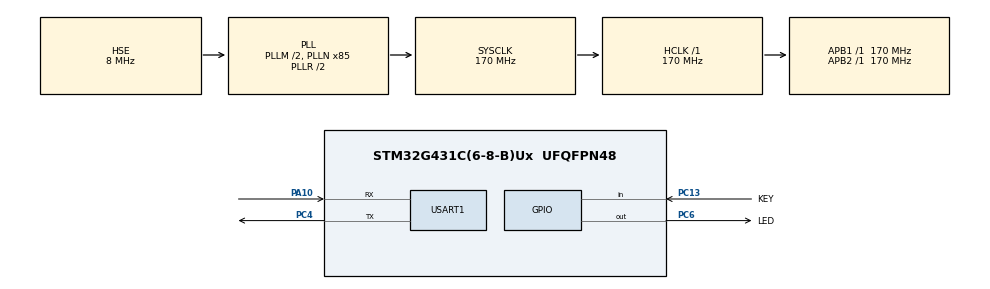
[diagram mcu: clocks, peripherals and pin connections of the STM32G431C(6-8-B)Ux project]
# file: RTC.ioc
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Mcu.Family=STM32G4
Mcu.Name=STM32G431C(6-8-B)Ux
Mcu.Package=UFQFPN48
NVIC.PriorityGroup=NVIC_PRIORITYGROUP_4
PA10.Mode=Asynchronous
PA10.Signal=USART1_RX
PA13.Mode=Trace_Asynchronous_SW
PA13.Signal=SYS_JTMS-SWDIO
PA14.Mode=Trace_Asynchronous_SW
PA14.Signal=SYS_JTCK-SWCLK
PB3.Mode=Trace_Asynchronous_SW
PB3.Signal=SYS_JTDO-SWO
PC13.GPIO_Label=KEY
PC13.GPIO_PuPd=GPIO_PULLDOWN
PC13.Signal=GPIO_Input
PC14-OSC32_IN.Mode=LSE-External-Oscillator
PC14-OSC32_IN.Signal=RCC_OSC32_IN
PC15-OSC32_OUT.Mode=LSE-External-Oscillator
PC15-OSC32_OUT.Signal=RCC_OSC32_OUT
PC4.Mode=Asynchronous
PC4.Signal=USART1_TX
PC6.GPIO_Label=LED
PC6.GPIO_ModeDefaultOutputPP=GPIO_MODE_OUTPUT_PP
PC6.GPIO_Speed=GPIO_SPEED_FREQ_LOW
PC6.PinState=GPIO_PIN_RESET
PC6.Signal=GPIO_Output
PF0-OSC_IN.Mode=HSE-External-Oscillator
PF0-OSC_IN.Signal=RCC_OSC_IN
PF1-OSC_OUT.Mode=HSE-External-Oscillator
PF1-OSC_OUT.Signal=RCC_OSC_OUT
ProjectManager.HeapSize=0x200
ProjectManager.StackSize=0x400
ProjectManager.TargetToolchain=STM32CubeIDE
RCC.ADC12Freq_Value=170000000
RCC.AHBFreq_Value=170000000
RCC.APB1Freq_Value=170000000
RCC.APB1TimFreq_Value=170000000
RCC.APB2Freq_Value=170000000
RCC.APB2TimFreq_Value=170000000
RCC.CortexFreq_Value=170000000
RCC.EXTERNAL_CLOCK_VALUE=12288000
RCC.HCLKFreq_Value=170000000
RCC.HSE_VALUE=8000000
RCC.HSI48_VALUE=48000000
RCC.HSI_VALUE=16000000
RCC.PLLM=RCC_PLLM_DIV2
RCC.PLLN=85
RCC.PLLSourceVirtual=RCC_PLLSOURCE_HSE
RCC.RTCClockSelection=RCC_RTCCLKSOURCE_LSE
RCC.SYSCLKFreq_VALUE=170000000
RCC.SYSCLKSource=RCC_SYSCLKSOURCE_PLLCLK
RCC.USBFreq_Value=170000000
RCC.VCOOutputFreq_Value=340000000
USART1.VirtualMode-Asynchronous=VM_ASYNC
VP_RTC_VS_RTC_Activate.Mode=RTC_Enabled
VP_SYS_VS_DBSignals.Mode=DisableDeadBatterySignals
board=custom

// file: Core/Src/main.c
/* USER CODE BEGIN Header */
/**
  ******************************************************************************
  * @file           : main.c
  * @brief          : Main program body
  ******************************************************************************
  * @attention
  *
  * Copyright (c) 2025 STMicroelectronics.
  * All rights reserved.
  *
  * This software is licensed under terms that can be found in the LICENSE file
  * in the root directory of this software component.
  * If no LICENSE file comes with this software, it is provided AS-IS.
  *
  ******************************************************************************
  */
/* USER CODE END Header */
#include "main.h"

/* USER CODE BEGIN Includes */
#include "console.h"
/* USER CODE END Includes */

RTC_HandleTypeDef hrtc;

UART_HandleTypeDef huart1;

void SystemClock_Config(void);
static void MX_GPIO_Init(void);
static void MX_RTC_Init(void);
static void MX_USART1_UART_Init(void);

int main(void)
{

  /* MCU Configuration--------------------------------------------------------*/

  /* Reset of all peripherals, Initializes the Flash interface and the Systick. */
  HAL_Init();

  /* Configure the system clock */
  SystemClock_Config();

  /* Initialize all configured peripherals */
  MX_GPIO_Init();
  MX_RTC_Init();
  MX_USART1_UART_Init();
  /* USER CODE BEGIN 2 */

  RTC_TimeTypeDef Time;
  RTC_DateTypeDef Date;

  /* USER CODE END 2 */

  /* Infinite loop */
  /* USER CODE BEGIN WHILE */
  while (1)
  {
	  if (HAL_RTC_GetTime(&hrtc, &Time, RTC_FORMAT_BIN) != HAL_OK) {
		  printf("RTC Get Time error\r\n");
	  }

	  if (HAL_RTC_GetDate(&hrtc, &Date, RTC_FORMAT_BIN) != HAL_OK) {
		  printf("RTC Get Date error\r\n");
	  }

	  printf("Date: %d.%d.%d Time: %d:%d:%d \r\n", Date.Date, Date.Month, Date.Year,  Time.Hours, Time.Minutes, Time.Seconds);
	  HAL_Delay(1000);

	  if (HAL_GPIO_ReadPin(KEY_GPIO_Port, KEY_Pin) == GPIO_PIN_SET) {
		  // Set time
		  Time.Hours = 15;
		  Time.Minutes = 41;
		  Time.Seconds = 13;

		  // Set date
		  Date.Date = 20;
		  Date.Month = 11;
		  Date.Year = 25;
		  Date.WeekDay = RTC_WEEKDAY_MONDAY;

		  if (HAL_RTC_SetTime(&hrtc, &Time, RTC_FORMAT_BIN) != HAL_OK) {
			  printf("RTC Set Time error\r\n");
		  }

		  if (HAL_RTC_SetDate(&hrtc, &Date, RTC_FORMAT_BIN) != HAL_OK) {
			  printf("RTC Set Date error\r\n");
		  }

	  }

    /* USER CODE END WHILE */

  }
}

void SystemClock_Config(void)
{
  RCC_OscInitTypeDef RCC_OscInitStruct = {0};
  RCC_ClkInitTypeDef RCC_ClkInitStruct = {0};

  /** Configure the main internal regulator output voltage
  */
  HAL_PWREx_ControlVoltageScaling(PWR_REGULATOR_VOLTAGE_SCALE1_BOOST);

  /** Configure LSE Drive Capability
  */
  HAL_PWR_EnableBkUpAccess();
  __HAL_RCC_LSEDRIVE_CONFIG(RCC_LSEDRIVE_LOW);

  /** Initializes the RCC Oscillators according to the specified parameters
  * in the RCC_OscInitTypeDef structure.
  */
  RCC_OscInitStruct.OscillatorType = RCC_OSCILLATORTYPE_HSE|RCC_OSCILLATORTYPE_LSE;
  RCC_OscInitStruct.HSEState = RCC_HSE_ON;
  RCC_OscInitStruct.LSEState = RCC_LSE_ON;
  RCC_OscInitStruct.PLL.PLLState = RCC_PLL_ON;
  RCC_OscInitStruct.PLL.PLLSource = RCC_PLLSOURCE_HSE;
  RCC_OscInitStruct.PLL.PLLM = RCC_PLLM_DIV2;
  RCC_OscInitStruct.PLL.PLLN = 85;
  RCC_OscInitStruct.PLL.PLLP = RCC_PLLP_DIV2;
  RCC_OscInitStruct.PLL.PLLQ = RCC_PLLQ_DIV2;
  RCC_OscInitStruct.PLL.PLLR = RCC_PLLR_DIV2;
  if (HAL_RCC_OscConfig(&RCC_OscInitStruct) != HAL_OK)
  {
    Error_Handler();
  }

  /** Initializes the CPU, AHB and APB buses clocks
  */
  RCC_ClkInitStruct.ClockType = RCC_CLOCKTYPE_HCLK|RCC_CLOCKTYPE_SYSCLK
                              |RCC_CLOCKTYPE_PCLK1|RCC_CLOCKTYPE_PCLK2;
  RCC_ClkInitStruct.SYSCLKSource = RCC_SYSCLKSOURCE_PLLCLK;
  RCC_ClkInitStruct.AHBCLKDivider = RCC_SYSCLK_DIV1;
  RCC_ClkInitStruct.APB1CLKDivider = RCC_HCLK_DIV1;
  RCC_ClkInitStruct.APB2CLKDivider = RCC_HCLK_DIV1;

  if (HAL_RCC_ClockConfig(&RCC_ClkInitStruct, FLASH_LATENCY_4) != HAL_OK)
  {
    Error_Handler();
  }
}

static void MX_RTC_Init(void)
{

  /** Initialize RTC Only
  */
  hrtc.Instance = RTC;
  hrtc.Init.HourFormat = RTC_HOURFORMAT_24;
  hrtc.Init.AsynchPrediv = 127;
  hrtc.Init.SynchPrediv = 255;
  hrtc.Init.OutPut = RTC_OUTPUT_DISABLE;
  hrtc.Init.OutPutRemap = RTC_OUTPUT_REMAP_NONE;
  hrtc.Init.OutPutPolarity = RTC_OUTPUT_POLARITY_HIGH;
  hrtc.Init.OutPutType = RTC_OUTPUT_TYPE_OPENDRAIN;
  hrtc.Init.OutPutPullUp = RTC_OUTPUT_PULLUP_NONE;
  if (HAL_RTC_Init(&hrtc) != HAL_OK)
  {
    Error_Handler();
  }

}

static void MX_USART1_UART_Init(void)
{

  huart1.Instance = USART1;
  huart1.Init.BaudRate = 115200;
  huart1.Init.WordLength = UART_WORDLENGTH_8B;
  huart1.Init.StopBits = UART_STOPBITS_1;
  huart1.Init.Parity = UART_PARITY_NONE;
  huart1.Init.Mode = UART_MODE_TX_RX;
  huart1.Init.HwFlowCtl = UART_HWCONTROL_NONE;
  huart1.Init.OverSampling = UART_OVERSAMPLING_16;
  huart1.Init.OneBitSampling = UART_ONE_BIT_SAMPLE_DISABLE;
  huart1.Init.ClockPrescaler = UART_PRESCALER_DIV1;
  huart1.AdvancedInit.AdvFeatureInit = UART_ADVFEATURE_NO_INIT;
  if (HAL_UART_Init(&huart1) != HAL_OK)
  {
    Error_Handler();
  }
  if (HAL_UARTEx_SetTxFifoThreshold(&huart1, UART_TXFIFO_THRESHOLD_1_8) != HAL_OK)
  {
    Error_Handler();
  }
  if (HAL_UARTEx_SetRxFifoThreshold(&huart1, UART_RXFIFO_THRESHOLD_1_8) != HAL_OK)
  {
    Error_Handler();
  }
  if (HAL_UARTEx_DisableFifoMode(&huart1) != HAL_OK)
  {
    Error_Handler();
  }

}

static void MX_GPIO_Init(void)
{
  GPIO_InitTypeDef GPIO_InitStruct = {0};

  /* GPIO Ports Clock Enable */
  __HAL_RCC_GPIOC_CLK_ENABLE();
  __HAL_RCC_GPIOF_CLK_ENABLE();
  __HAL_RCC_GPIOA_CLK_ENABLE();
  __HAL_RCC_GPIOB_CLK_ENABLE();

  /*Configure GPIO pin Output Level */
  HAL_GPIO_WritePin(LED_GPIO_Port, LED_Pin, GPIO_PIN_RESET);

  /*Configure GPIO pin : KEY_Pin */
  GPIO_InitStruct.Pin = KEY_Pin;
  GPIO_InitStruct.Mode = GPIO_MODE_INPUT;
  GPIO_InitStruct.Pull = GPIO_PULLDOWN;
  HAL_GPIO_Init(KEY_GPIO_Port, &GPIO_InitStruct);

  /*Configure GPIO pin : LED_Pin */
  GPIO_InitStruct.Pin = LED_Pin;
  GPIO_InitStruct.Mode = GPIO_MODE_OUTPUT_PP;
  GPIO_InitStruct.Pull = GPIO_NOPULL;
  GPIO_InitStruct.Speed = GPIO_SPEED_FREQ_LOW;
  HAL_GPIO_Init(LED_GPIO_Port, &GPIO_InitStruct);

}

void Error_Handler(void)
{
  __disable_irq();
  while (1)
  {
  }
}
